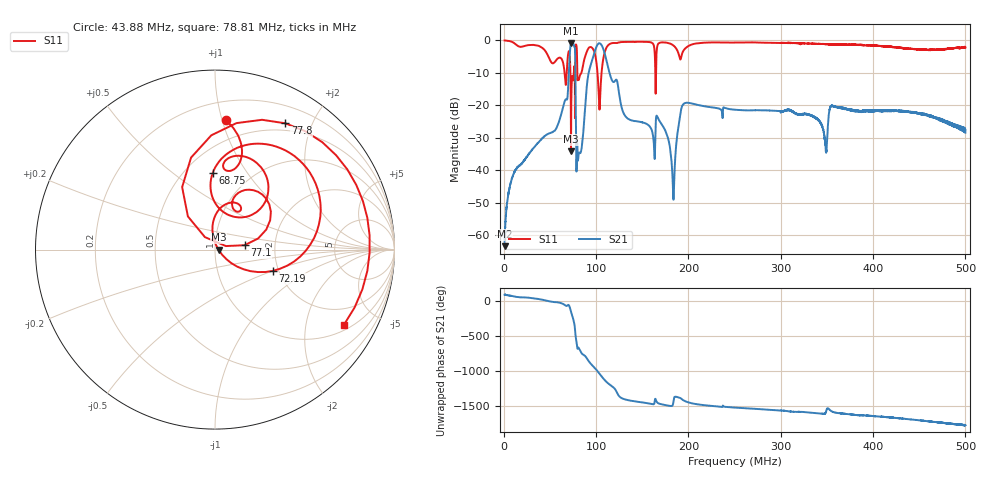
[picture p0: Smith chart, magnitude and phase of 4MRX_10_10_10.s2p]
! NanoVNA-App
! Date: 2026-08-19 14:29:28
! Start: 1MHz Stop: 500MHz Points: 6401
! S-Parameter data: F S11 S21 S12 S22
# Hz S RI R 50
!  Frequency  S11_Real  S11_Imag  S21_Real  S21_Imag  S12_Real  S12_Imag  S22_Real  S22_Imag
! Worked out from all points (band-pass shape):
!   6401 points, 1 MHz to 500 MHz, reference 50 ohm
!   highest |S21| = -0.83 dB at 73.2 MHz (marker M1); lowest = -63.3 dB at 1 MHz (marker M2)
!   |S21| within 3 dB of the highest: 71.7 MHz to 77.36 MHz (5.662 MHz wide, 7.6 % of centre); 98.15 MHz to 109.2 MHz (11.08 MHz wide, 10.7 % of centre)
!   lowest |S11| = -34.1 dB at 72.89 MHz (marker M3), VSWR 1.04, Z = 52 - j0.106 ohm
!   |S11| at or under -10 dB: 72.24 MHz to 75.96 MHz (3.716 MHz wide, 5.01 % of centre); 79.71 MHz to 84.1 MHz (4.392 MHz wide, 5.36 % of centre); 101.6 MHz to 106 MHz (4.391 MHz wide, 4.23 % of centre)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
!   S12 and S22 are empty: the file has one direction only
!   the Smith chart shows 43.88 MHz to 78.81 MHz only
!   S11 on the Smith chart (normalised r, x): 43.88 MHz: 0.34, +1.03; 68.75 MHz: 0.68, +0.70; 72.19 MHz: 1.86, -0.50; 77.1 MHz: 1.39, +0.07; 77.8 MHz: 0.41, +1.63; 78.81 MHz: 1.20, -3.27
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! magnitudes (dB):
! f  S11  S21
! 1 MHz  0.0  -63.3
! 10.9 MHz  -0.7  -41.0
! 43.88 MHz  -2.8  -29.5
! 68.75 MHz  -7.4  -18.0
! 72.19 MHz  -9.3  -2.0
! 72.89 MHz  -34.1  -0.9
! 73.2 MHz  -19.3  -0.8
! 77.1 MHz  -15.6  -2.2
! 77.8 MHz  -1.9  -14.1
! 78.81 MHz  -1.6  -40.3
! 84.19 MHz  -9.9  -33.5
! 95.42 MHz  -2.2  -6.4
! 103.1 MHz  -18.4  -0.9
! 112 MHz  -1.9  -7.0
! 132.3 MHz  -0.5  -23.5
! 167.4 MHz  -1.0  -24.0
! 183.5 MHz  -1.5  -47.4
! 195.2 MHz  -2.9  -19.4
! 250.5 MHz  -0.6  -21.3
! 333.7 MHz  -1.0  -23.2
! 416.9 MHz  -1.9  -21.8
! 500 MHz  -2.2  -28.4
